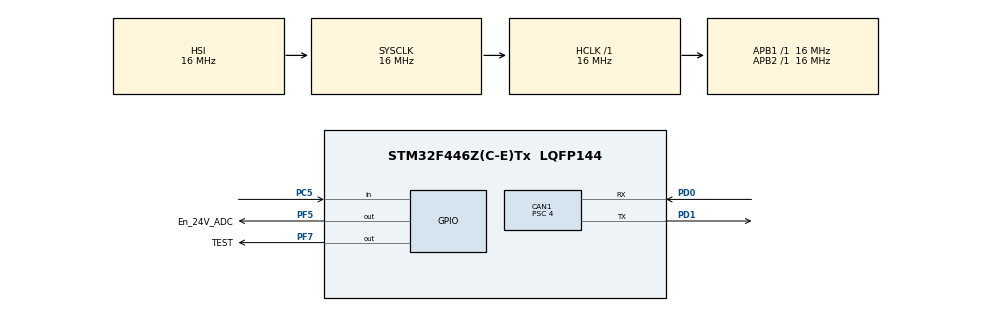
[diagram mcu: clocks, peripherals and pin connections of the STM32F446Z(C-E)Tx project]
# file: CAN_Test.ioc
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CAN1.BS1=CAN_BS1_12TQ
CAN1.BS2=CAN_BS2_3TQ
CAN1.CalculateBaudRate=250000
CAN1.CalculateTimeBit=4000
CAN1.CalculateTimeQuantum=250.0
CAN1.Mode=CAN_MODE_LOOPBACK
CAN1.Prescaler=4
Mcu.Family=STM32F4
Mcu.Name=STM32F446Z(C-E)Tx
Mcu.Package=LQFP144
NVIC.CAN1_RX0_IRQn=true\:0\:0\:false\:false\:true\:true\:true\:true
NVIC.PriorityGroup=NVIC_PRIORITYGROUP_4
PC5.Signal=GPIO_Input
PD0.GPIO_PuPd=GPIO_PULLUP
PD0.Mode=CAN_Activate
PD0.Signal=CAN1_RX
PD1.Mode=CAN_Activate
PD1.Signal=CAN1_TX
PF5.GPIO_Label=En_24V_ADC
PF5.Signal=GPIO_Output
PF7.GPIO_Label=TEST
PF7.GPIO_Speed=GPIO_SPEED_FREQ_VERY_HIGH
PF7.Signal=GPIO_Output
ProjectManager.HeapSize=0x200
ProjectManager.StackSize=0x400
ProjectManager.TargetToolchain=STM32CubeIDE
RCC.AHBFreq_Value=16000000
RCC.APB1Freq_Value=16000000
RCC.APB1TimFreq_Value=16000000
RCC.APB2Freq_Value=16000000
RCC.APB2TimFreq_Value=16000000
RCC.CortexFreq_Value=16000000
RCC.HCLKFreq_Value=16000000
RCC.SYSCLKFreq_VALUE=16000000
RCC.USBFreq_Value=96000000
RCC.VCOOutputFreq_Value=192000000
board=custom

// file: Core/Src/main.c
/* USER CODE BEGIN Header */
/**
  ******************************************************************************
  * @file           : main.c
  * @brief          : Main program body
  ******************************************************************************
  * @attention
  *
  * Copyright (c) 2026 STMicroelectronics.
  * All rights reserved.
  *
  * This software is licensed under terms that can be found in the LICENSE file
  * in the root directory of this software component.
  * If no LICENSE file comes with this software, it is provided AS-IS.
  *
  ******************************************************************************
  */
/* USER CODE END Header */
#include "main.h"

CAN_HandleTypeDef hcan1;

/* USER CODE BEGIN PV */

CAN_TxHeaderTypeDef   TxHeader; /* Header containing the information of the transmitted frame */
CAN_RxHeaderTypeDef   RxHeader; ; /* Header containing the information of the received frame */
uint8_t               TxData[8] = {0};  /* Buffer of the data to send */
uint8_t               RxData[8]; /* Buffer of the received data */
uint32_t              TxMailbox;  /* The number of the mail box that transmitted the Tx message */

/* USER CODE END PV */

void SystemClock_Config(void);
static void MX_GPIO_Init(void);
static void MX_CAN1_Init(void);

int main(void)
{

  /* MCU Configuration--------------------------------------------------------*/

  /* Reset of all peripherals, Initializes the Flash interface and the Systick. */
  HAL_Init();

  /* Configure the system clock */
  SystemClock_Config();

  /* Initialize all configured peripherals */
  MX_GPIO_Init();
  MX_CAN1_Init();
  /* USER CODE BEGIN 2 */
  	TxHeader.StdId = 0x123;
	TxHeader.RTR = CAN_RTR_DATA;
	TxHeader.IDE = CAN_ID_STD;
	TxHeader.DLC = 8;
	TxHeader.TransmitGlobalTime = DISABLE;
	TxData[0] = 0;
	TxData[7] = 0xFF;
  /* USER CODE END 2 */

  /* Infinite loop */
  /* USER CODE BEGIN WHILE */
  while (1)
  {
	  TxData[0] ++; /* Increment the first byte */
	  TxData[7] --; /* Increment the last byte */

      /* It's mandatory to look for a free Tx mail box */
	  while(HAL_CAN_GetTxMailboxesFreeLevel(&hcan1) == 0); /* Wait till a Tx mailbox is free. Using while loop instead of HAL_Delay() */
      if (HAL_CAN_AddTxMessage(&hcan1, &TxHeader, TxData, &TxMailbox) != HAL_OK)
      {
        /* Transmission request Error */
        Error_Handler();
      }
    /* USER CODE END WHILE */

  }
}

void SystemClock_Config(void)
{
  RCC_OscInitTypeDef RCC_OscInitStruct = {0};
  RCC_ClkInitTypeDef RCC_ClkInitStruct = {0};

  /** Configure the main internal regulator output voltage
  */
  __HAL_RCC_PWR_CLK_ENABLE();
  __HAL_PWR_VOLTAGESCALING_CONFIG(PWR_REGULATOR_VOLTAGE_SCALE3);

  /** Initializes the RCC Oscillators according to the specified parameters
  * in the RCC_OscInitTypeDef structure.
  */
  RCC_OscInitStruct.OscillatorType = RCC_OSCILLATORTYPE_HSI;
  RCC_OscInitStruct.HSIState = RCC_HSI_ON;
  RCC_OscInitStruct.HSICalibrationValue = RCC_HSICALIBRATION_DEFAULT;
  RCC_OscInitStruct.PLL.PLLState = RCC_PLL_NONE;
  if (HAL_RCC_OscConfig(&RCC_OscInitStruct) != HAL_OK)
  {
    Error_Handler();
  }

  /** Initializes the CPU, AHB and APB buses clocks
  */
  RCC_ClkInitStruct.ClockType = RCC_CLOCKTYPE_HCLK|RCC_CLOCKTYPE_SYSCLK
                              |RCC_CLOCKTYPE_PCLK1|RCC_CLOCKTYPE_PCLK2;
  RCC_ClkInitStruct.SYSCLKSource = RCC_SYSCLKSOURCE_HSI;
  RCC_ClkInitStruct.AHBCLKDivider = RCC_SYSCLK_DIV1;
  RCC_ClkInitStruct.APB1CLKDivider = RCC_HCLK_DIV1;
  RCC_ClkInitStruct.APB2CLKDivider = RCC_HCLK_DIV1;

  if (HAL_RCC_ClockConfig(&RCC_ClkInitStruct, FLASH_LATENCY_0) != HAL_OK)
  {
    Error_Handler();
  }
}

static void MX_CAN1_Init(void)
{

  /* USER CODE BEGIN CAN1_Init 0 */

	CAN_FilterTypeDef  sFilterConfig;

  /* USER CODE END CAN1_Init 0 */

  hcan1.Instance = CAN1;
  hcan1.Init.Prescaler = 4;
  hcan1.Init.Mode = CAN_MODE_LOOPBACK;
  hcan1.Init.SyncJumpWidth = CAN_SJW_1TQ;
  hcan1.Init.TimeSeg1 = CAN_BS1_12TQ;
  hcan1.Init.TimeSeg2 = CAN_BS2_3TQ;
  hcan1.Init.TimeTriggeredMode = DISABLE;
  hcan1.Init.AutoBusOff = DISABLE;
  hcan1.Init.AutoWakeUp = DISABLE;
  hcan1.Init.AutoRetransmission = DISABLE;
  hcan1.Init.ReceiveFifoLocked = DISABLE;
  hcan1.Init.TransmitFifoPriority = DISABLE;
  if (HAL_CAN_Init(&hcan1) != HAL_OK)
  {
    Error_Handler();
  }
  /* USER CODE BEGIN CAN1_Init 2 */

  /* The CAN filter configuration */
    sFilterConfig.FilterBank = 0;
    sFilterConfig.FilterMode = CAN_FILTERMODE_IDMASK;
    sFilterConfig.FilterScale = CAN_FILTERSCALE_32BIT;
    sFilterConfig.FilterIdHigh = 0x0000;
    sFilterConfig.FilterIdLow = 0x0000;
    sFilterConfig.FilterMaskIdHigh = 0x0000;
    sFilterConfig.FilterMaskIdLow = 0x0000;
    sFilterConfig.FilterFIFOAssignment = CAN_RX_FIFO0; /* The data will be received in FIFO0 */
    sFilterConfig.FilterActivation = ENABLE;
    sFilterConfig.SlaveStartFilterBank = 14;
    if (HAL_CAN_ConfigFilter(&hcan1, &sFilterConfig) != HAL_OK)
    {
      /* Filter configuration Error */
      Error_Handler();
    }
   /* Starting the CAN peripheral */
    if (HAL_CAN_Start(&hcan1) != HAL_OK)
    {
      /* Start Error */
      Error_Handler();
    }
   /* Activate CAN RX notification on FIFO0 */
    if (HAL_CAN_ActivateNotification(&hcan1, CAN_IT_RX_FIFO0_MSG_PENDING) != HAL_OK)
    {
      /* Notification Error */
      Error_Handler();
    }

  /* USER CODE END CAN1_Init 2 */

}

static void MX_GPIO_Init(void)
{
  GPIO_InitTypeDef GPIO_InitStruct = {0};

  /* GPIO Ports Clock Enable */
  __HAL_RCC_GPIOF_CLK_ENABLE();
  __HAL_RCC_GPIOC_CLK_ENABLE();
  __HAL_RCC_GPIOD_CLK_ENABLE();

  /*Configure GPIO pin Output Level */
  HAL_GPIO_WritePin(GPIOF, En_24V_ADC_Pin|TEST_Pin, GPIO_PIN_RESET);

  /*Configure GPIO pin : En_24V_ADC_Pin */
  GPIO_InitStruct.Pin = En_24V_ADC_Pin;
  GPIO_InitStruct.Mode = GPIO_MODE_OUTPUT_PP;
  GPIO_InitStruct.Pull = GPIO_NOPULL;
  GPIO_InitStruct.Speed = GPIO_SPEED_FREQ_LOW;
  HAL_GPIO_Init(En_24V_ADC_GPIO_Port, &GPIO_InitStruct);

  /*Configure GPIO pin : TEST_Pin */
  GPIO_InitStruct.Pin = TEST_Pin;
  GPIO_InitStruct.Mode = GPIO_MODE_OUTPUT_PP;
  GPIO_InitStruct.Pull = GPIO_NOPULL;
  GPIO_InitStruct.Speed = GPIO_SPEED_FREQ_VERY_HIGH;
  HAL_GPIO_Init(TEST_GPIO_Port, &GPIO_InitStruct);

  /*Configure GPIO pin : PC5 */
  GPIO_InitStruct.Pin = GPIO_PIN_5;
  GPIO_InitStruct.Mode = GPIO_MODE_INPUT;
  GPIO_InitStruct.Pull = GPIO_NOPULL;
  HAL_GPIO_Init(GPIOC, &GPIO_InitStruct);

}

/* USER CODE BEGIN 4 */

void HAL_CAN_RxFifo0MsgPendingCallback(CAN_HandleTypeDef *CanHandle)
{
  /* Get RX message */
  if (HAL_CAN_GetRxMessage(CanHandle, CAN_RX_FIFO0, &RxHeader, RxData) != HAL_OK)
  {
    /* Reception Error */
    Error_Handler();
  }
}

/* USER CODE END 4 */

void Error_Handler(void)
{
  __disable_irq();
  while (1)
  {
  }
}
